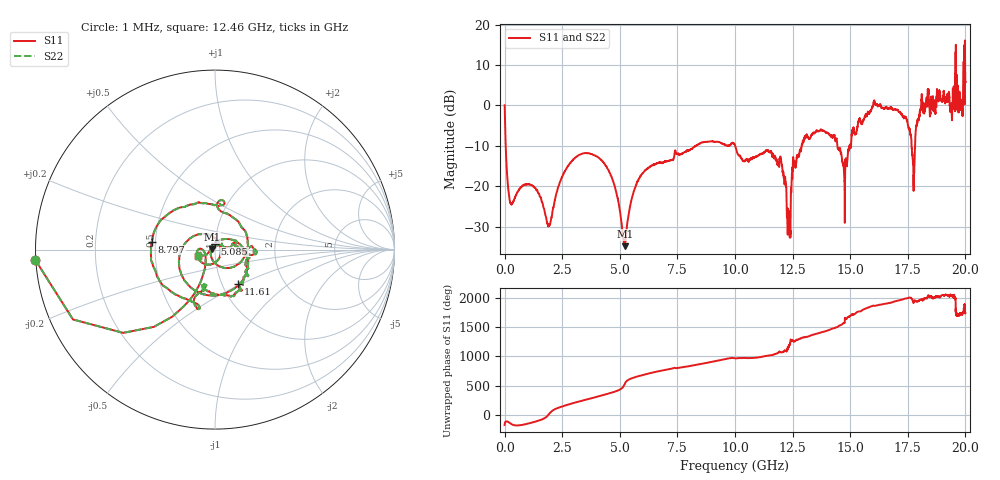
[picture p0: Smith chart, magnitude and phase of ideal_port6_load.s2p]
! Created with skrf (http://scikit-rf.org).
# GHz S RI R 50.0
!freq ReS11 ImS11 ReS21 ImS21 ReS12 ImS12 ReS22 ImS22
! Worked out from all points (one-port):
!   10001 points, 1 MHz to 20 GHz, reference 50 ohm
!   lowest |S11| = -34.8 dB at 5.221 GHz (marker M1), VSWR 1.04, Z = 48.2 + j0.235 ohm
!   |S11| at or under -10 dB: 47.97 MHz to 8.301 GHz (8.253 GHz wide, 198 % of centre); 10.01 GHz to 12.89 GHz (2.88 GHz wide, 25.1 % of centre); 14.45 GHz to 14.98 GHz (537.7 MHz wide, 3.65 % of centre) (the widest 3 of 5)
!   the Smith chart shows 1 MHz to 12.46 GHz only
!   S11 on the Smith chart (normalised r, x): 1 MHz: -0.00, -0.03; 5.085 GHz: 0.99, +0.07; 8.797 GHz: 0.48, +0.05; 11.61 GHz: 1.19, -0.49; 12.46 GHz: 0.81, -0.06
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0.001  -1.001 -0.0578  0 0  0 0  -1.001 -0.0578
0.2709865  -0.0551 -0.0262  0 0  0 0  -0.0551 -0.0262
1.908905  0.0318 0.00106  0 0  0 0  0.0318 0.00106
3.334833  -0.1315 -0.2138  0 0  0 0  -0.1315 -0.2138
5.084746  -0.00141 0.0337  0 0  0 0  -0.00141 0.0337
5.220739  -0.018 0.00243  0 0  0 0  -0.018 0.00243
6.668667  0.1758 0.0825  0 0  0 0  0.1758 0.0825
8.79656  -0.3529 0.0447  0 0  0 0  -0.3529 0.0447
10.0005  -0.1139 -0.3025  0 0  0 0  -0.1139 -0.3025
11.61042  0.1306 -0.1931  0 0  0 0  0.1306 -0.1931
12.45838  -0.1011 -0.0382  0 0  0 0  -0.1011 -0.0382
13.33433  0.1246 -0.4161  0 0  0 0  0.1246 -0.4161
14.33628  0.2619 0.2986  0 0  0 0  0.2619 0.2986
14.88826  -0.1327 -0.1888  0 0  0 0  -0.1327 -0.1888
15.68222  0.7118 0.2878  0 0  0 0  0.7118 0.2878
16.66817  -0.4095 0.8198  0 0  0 0  -0.4095 0.8198
17.49013  -0.571 -0.2026  0 0  0 0  -0.571 -0.2026
17.9581  -0.5747 0.3405  0 0  0 0  -0.5747 0.3405
18.45008  -0.6431 -0.5391  0 0  0 0  -0.6431 -0.5391
19.47603  -0.8303 -0.7446  0 0  0 0  -0.8303 -0.7446
19.68602  -0.0304 -1.176  0 0  0 0  -0.0304 -1.176
20  1.087 -1.621  0 0  0 0  1.087 -1.621
